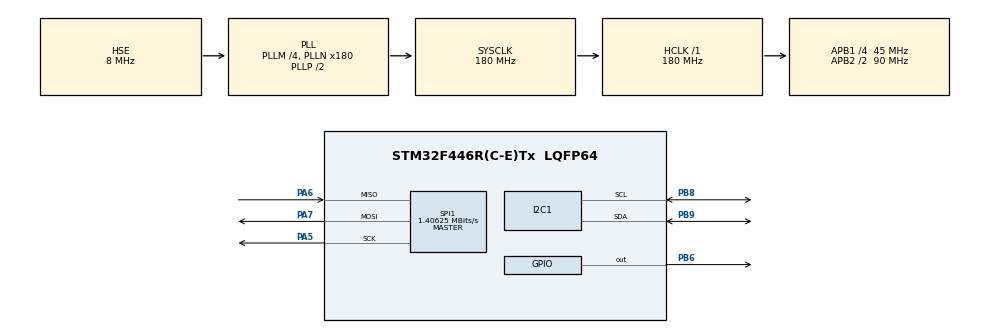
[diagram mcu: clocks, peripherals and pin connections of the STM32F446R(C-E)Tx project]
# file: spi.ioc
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Mcu.Family=STM32F4
Mcu.Name=STM32F446R(C-E)Tx
Mcu.Package=LQFP64
NVIC.PriorityGroup=NVIC_PRIORITYGROUP_4
PA5.Mode=Full_Duplex_Master
PA5.Signal=SPI1_SCK
PA6.Mode=Full_Duplex_Master
PA6.Signal=SPI1_MISO
PA7.Mode=Full_Duplex_Master
PA7.Signal=SPI1_MOSI
PB6.Signal=GPIO_Output
PB8.Mode=I2C
PB8.Signal=I2C1_SCL
PB9.Mode=I2C
PB9.Signal=I2C1_SDA
PH0-OSC_IN.Mode=HSE-External-Oscillator
PH0-OSC_IN.Signal=RCC_OSC_IN
PH1-OSC_OUT.Mode=HSE-External-Oscillator
PH1-OSC_OUT.Signal=RCC_OSC_OUT
ProjectManager.HeapSize=0x200
ProjectManager.StackSize=0x400
ProjectManager.TargetToolchain=SW4STM32
RCC.AHBFreq_Value=180000000
RCC.APB1CLKDivider=RCC_HCLK_DIV4
RCC.APB1Freq_Value=45000000
RCC.APB1TimFreq_Value=90000000
RCC.APB2CLKDivider=RCC_HCLK_DIV2
RCC.APB2Freq_Value=90000000
RCC.APB2TimFreq_Value=180000000
RCC.CortexFreq_Value=180000000
RCC.HCLKFreq_Value=180000000
RCC.HSE_VALUE=8000000
RCC.PLLM=4
RCC.PLLN=180
RCC.PLLSourceVirtual=RCC_PLLSOURCE_HSE
RCC.SYSCLKFreq_VALUE=180000000
RCC.SYSCLKSource=RCC_SYSCLKSOURCE_PLLCLK
RCC.USBFreq_Value=180000000
RCC.VCOOutputFreq_Value=360000000
SPI1.BaudRatePrescaler=SPI_BAUDRATEPRESCALER_64
SPI1.CLKPhase=SPI_PHASE_2EDGE
SPI1.CLKPolarity=SPI_POLARITY_HIGH
SPI1.CalculateBaudRate=1.40625 MBits/s
SPI1.Direction=SPI_DIRECTION_2LINES
SPI1.Mode=SPI_MODE_MASTER
SPI1.VirtualType=VM_MASTER
board=custom

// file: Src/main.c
/**
  ******************************************************************************
  * @file           : main.c
  * @brief          : Main program body
  ******************************************************************************
  ** This notice applies to any and all portions of this file
  * that are not between comment pairs USER CODE BEGIN and
  * USER CODE END. Other portions of this file, whether
  * inserted by the user or by software development tools
  * are owned by their respective copyright owners.
  *
  * COPYRIGHT(c) 2018 STMicroelectronics
  *
  * Redistribution and use in source and binary forms, with or without modification,
  * are permitted provided that the following conditions are met:
  *   1. Redistributions of source code must retain the above copyright notice,
  *      this list of conditions and the following disclaimer.
  *   2. Redistributions in binary form must reproduce the above copyright notice,
  *      this list of conditions and the following disclaimer in the documentation
  *      and/or other materials provided with the distribution.
  *   3. Neither the name of STMicroelectronics nor the names of its contributors
  *      may be used to endorse or promote products derived from this software
  *      without specific prior written permission.
  *
  * THIS SOFTWARE IS PROVIDED BY THE COPYRIGHT HOLDERS AND CONTRIBUTORS "AS IS"
  * AND ANY EXPRESS OR IMPLIED WARRANTIES, INCLUDING, BUT NOT LIMITED TO, THE
  * IMPLIED WARRANTIES OF MERCHANTABILITY AND FITNESS FOR A PARTICULAR PURPOSE ARE
  * DISCLAIMED. IN NO EVENT SHALL THE COPYRIGHT HOLDER OR CONTRIBUTORS BE LIABLE
  * FOR ANY DIRECT, INDIRECT, INCIDENTAL, SPECIAL, EXEMPLARY, OR CONSEQUENTIAL
  * DAMAGES (INCLUDING, BUT NOT LIMITED TO, PROCUREMENT OF SUBSTITUTE GOODS OR
  * SERVICES; LOSS OF USE, DATA, OR PROFITS; OR BUSINESS INTERRUPTION) HOWEVER
  * CAUSED AND ON ANY THEORY OF LIABILITY, WHETHER IN CONTRACT, STRICT LIABILITY,
  * OR TORT (INCLUDING NEGLIGENCE OR OTHERWISE) ARISING IN ANY WAY OUT OF THE USE
  * OF THIS SOFTWARE, EVEN IF ADVISED OF THE POSSIBILITY OF SUCH DAMAGE.
  *
  ******************************************************************************
  */
#include "main.h"
#include "stm32f4xx_hal.h"

/* USER CODE BEGIN Includes */
#include "i2c-lcd.h"
/* USER CODE END Includes */

I2C_HandleTypeDef hi2c1;

SPI_HandleTypeDef hspi1;

/* USER CODE BEGIN PV */
/* Private variables ---------------------------------------------------------*/
uint8_t data_rec[6];
int16_t x,y,z;
float xg, yg, zg;

/* USER CODE END PV */

void SystemClock_Config(void);
static void MX_GPIO_Init(void);
static void MX_SPI1_Init(void);
static void MX_I2C1_Init(void);

/* USER CODE BEGIN PFP */
/* Private function prototypes -----------------------------------------------*/

/* USER CODE END PFP */

/* USER CODE BEGIN 0 */
void adxl_write (uint8_t address, uint8_t value)
{
	uint8_t data[2];
	data[0] = address|0x40;  // multibyte write enabled
	data[1] = value;
	HAL_GPIO_WritePin (GPIOB, GPIO_PIN_6, GPIO_PIN_RESET); // pull the cs pin low to enable the slave
	HAL_SPI_Transmit (&hspi1, data, 2, 100);  // transmit the address and data
	HAL_GPIO_WritePin (GPIOB, GPIO_PIN_6, GPIO_PIN_SET); // pull the cs pin high to disable the slave
}

void adxl_read (uint8_t address)
{
	address |= 0x80;  // read operation
	address |= 0x40;  // multibyte read
	HAL_GPIO_WritePin (GPIOB, GPIO_PIN_6, GPIO_PIN_RESET);  // pull the cs pin low to enable the slave
	HAL_SPI_Transmit (&hspi1, &address, 1, 100);  // send the address from where you want to read data
	HAL_SPI_Receive (&hspi1, data_rec, 6, 100);  // read 6 BYTES of data
	HAL_GPIO_WritePin (GPIOB, GPIO_PIN_6, GPIO_PIN_SET);  // pull the cs pin high to disable the slave
}

void adxl_init (void)
{
	adxl_write (0x31, 0x01);  // data_format range= +- 4g
	adxl_write (0x2d, 0x00);  // reset all bits
	adxl_write (0x2d, 0x08);  // power_cntl measure and wake up 8hz
}

/* USER CODE END 0 */

int main(void)
{

  /* MCU Configuration----------------------------------------------------------*/

  /* Reset of all peripherals, Initializes the Flash interface and the Systick. */
  HAL_Init();

  /* Configure the system clock */
  SystemClock_Config();

  /* Initialize all configured peripherals */
  MX_GPIO_Init();
  MX_SPI1_Init();
  MX_I2C1_Init();
  /* USER CODE BEGIN 2 */

  lcd_init ();
  lcd_send_string ("SPI_TEST");
  HAL_Delay (2000);  // 2sec wait

  adxl_init();  // initialise adxl

  /* USER CODE END 2 */

  /* Infinite loop */
  while (1)
  {

  /* USER CODE BEGIN 3 */

	  // READ DATA

	  adxl_read (0x32);
	  x = ((data_rec[1]<<8)|data_rec[0]);
      y = ((data_rec[3]<<8)|data_rec[2]);
      z = ((data_rec[5]<<8)|data_rec[4]);

      // Convert into 'g'

      xg = x*.0078;
      yg = y*.0078;
   	  zg = z*.0078;

   	  // display the result on LCD

  	  lcd_send_cmd (0x80);
  	  lcd_send_string ("X=");
  	  lcd_send_float (xg,5);
  	  lcd_send_string (" ");

  	  lcd_send_cmd (0x89);
  	  lcd_send_string ("Y=");
  	  lcd_send_float (yg,5);

      lcd_send_cmd (0xc4);
  	  lcd_send_string ("Z=");
  	  lcd_send_float (zg,5);

  	  HAL_Delay (200);   // wait for 200 ms
  }
  /* USER CODE END 3 */

}

void SystemClock_Config(void)
{

  RCC_OscInitTypeDef RCC_OscInitStruct;
  RCC_ClkInitTypeDef RCC_ClkInitStruct;

    /**Configure the main internal regulator output voltage
    */
  __HAL_RCC_PWR_CLK_ENABLE();

  __HAL_PWR_VOLTAGESCALING_CONFIG(PWR_REGULATOR_VOLTAGE_SCALE1);

    /**Initializes the CPU, AHB and APB busses clocks
    */
  RCC_OscInitStruct.OscillatorType = RCC_OSCILLATORTYPE_HSE;
  RCC_OscInitStruct.HSEState = RCC_HSE_ON;
  RCC_OscInitStruct.PLL.PLLState = RCC_PLL_ON;
  RCC_OscInitStruct.PLL.PLLSource = RCC_PLLSOURCE_HSE;
  RCC_OscInitStruct.PLL.PLLM = 4;
  RCC_OscInitStruct.PLL.PLLN = 180;
  RCC_OscInitStruct.PLL.PLLP = RCC_PLLP_DIV2;
  RCC_OscInitStruct.PLL.PLLQ = 2;
  RCC_OscInitStruct.PLL.PLLR = 2;
  if (HAL_RCC_OscConfig(&RCC_OscInitStruct) != HAL_OK)
  {
    _Error_Handler(__FILE__, __LINE__);
  }

    /**Activate the Over-Drive mode
    */
  if (HAL_PWREx_EnableOverDrive() != HAL_OK)
  {
    _Error_Handler(__FILE__, __LINE__);
  }

    /**Initializes the CPU, AHB and APB busses clocks
    */
  RCC_ClkInitStruct.ClockType = RCC_CLOCKTYPE_HCLK|RCC_CLOCKTYPE_SYSCLK
                              |RCC_CLOCKTYPE_PCLK1|RCC_CLOCKTYPE_PCLK2;
  RCC_ClkInitStruct.SYSCLKSource = RCC_SYSCLKSOURCE_PLLCLK;
  RCC_ClkInitStruct.AHBCLKDivider = RCC_SYSCLK_DIV1;
  RCC_ClkInitStruct.APB1CLKDivider = RCC_HCLK_DIV4;
  RCC_ClkInitStruct.APB2CLKDivider = RCC_HCLK_DIV2;

  if (HAL_RCC_ClockConfig(&RCC_ClkInitStruct, FLASH_LATENCY_5) != HAL_OK)
  {
    _Error_Handler(__FILE__, __LINE__);
  }

    /**Configure the Systick interrupt time
    */
  HAL_SYSTICK_Config(HAL_RCC_GetHCLKFreq()/1000);

    /**Configure the Systick
    */
  HAL_SYSTICK_CLKSourceConfig(SYSTICK_CLKSOURCE_HCLK);

  /* SysTick_IRQn interrupt configuration */
  HAL_NVIC_SetPriority(SysTick_IRQn, 0, 0);
}

/* I2C1 init function */
static void MX_I2C1_Init(void)
{

  hi2c1.Instance = I2C1;
  hi2c1.Init.ClockSpeed = 100000;
  hi2c1.Init.DutyCycle = I2C_DUTYCYCLE_2;
  hi2c1.Init.OwnAddress1 = 0;
  hi2c1.Init.AddressingMode = I2C_ADDRESSINGMODE_7BIT;
  hi2c1.Init.DualAddressMode = I2C_DUALADDRESS_DISABLE;
  hi2c1.Init.OwnAddress2 = 0;
  hi2c1.Init.GeneralCallMode = I2C_GENERALCALL_DISABLE;
  hi2c1.Init.NoStretchMode = I2C_NOSTRETCH_DISABLE;
  if (HAL_I2C_Init(&hi2c1) != HAL_OK)
  {
    _Error_Handler(__FILE__, __LINE__);
  }

}

/* SPI1 init function */
static void MX_SPI1_Init(void)
{

  /* SPI1 parameter configuration*/
  hspi1.Instance = SPI1;
  hspi1.Init.Mode = SPI_MODE_MASTER;
  hspi1.Init.Direction = SPI_DIRECTION_2LINES;
  hspi1.Init.DataSize = SPI_DATASIZE_8BIT;
  hspi1.Init.CLKPolarity = SPI_POLARITY_HIGH;
  hspi1.Init.CLKPhase = SPI_PHASE_2EDGE;
  hspi1.Init.NSS = SPI_NSS_SOFT;
  hspi1.Init.BaudRatePrescaler = SPI_BAUDRATEPRESCALER_64;
  hspi1.Init.FirstBit = SPI_FIRSTBIT_MSB;
  hspi1.Init.TIMode = SPI_TIMODE_DISABLE;
  hspi1.Init.CRCCalculation = SPI_CRCCALCULATION_DISABLE;
  hspi1.Init.CRCPolynomial = 10;
  if (HAL_SPI_Init(&hspi1) != HAL_OK)
  {
    _Error_Handler(__FILE__, __LINE__);
  }

}

/** Configure pins as
        * Analog
        * Input
        * Output
        * EVENT_OUT
        * EXTI
*/
static void MX_GPIO_Init(void)
{

  GPIO_InitTypeDef GPIO_InitStruct;

  /* GPIO Ports Clock Enable */
  __HAL_RCC_GPIOH_CLK_ENABLE();
  __HAL_RCC_GPIOA_CLK_ENABLE();
  __HAL_RCC_GPIOB_CLK_ENABLE();

  /*Configure GPIO pin Output Level */
  HAL_GPIO_WritePin(GPIOB, GPIO_PIN_6, GPIO_PIN_RESET);

  /*Configure GPIO pin : PB6 */
  GPIO_InitStruct.Pin = GPIO_PIN_6;
  GPIO_InitStruct.Mode = GPIO_MODE_OUTPUT_PP;
  GPIO_InitStruct.Pull = GPIO_NOPULL;
  GPIO_InitStruct.Speed = GPIO_SPEED_FREQ_LOW;
  HAL_GPIO_Init(GPIOB, &GPIO_InitStruct);

}

void _Error_Handler(char *file, int line)
{
  while(1)
  {
  }
}

/************************ (C) COPYRIGHT STMicroelectronics *****END OF FILE****/
